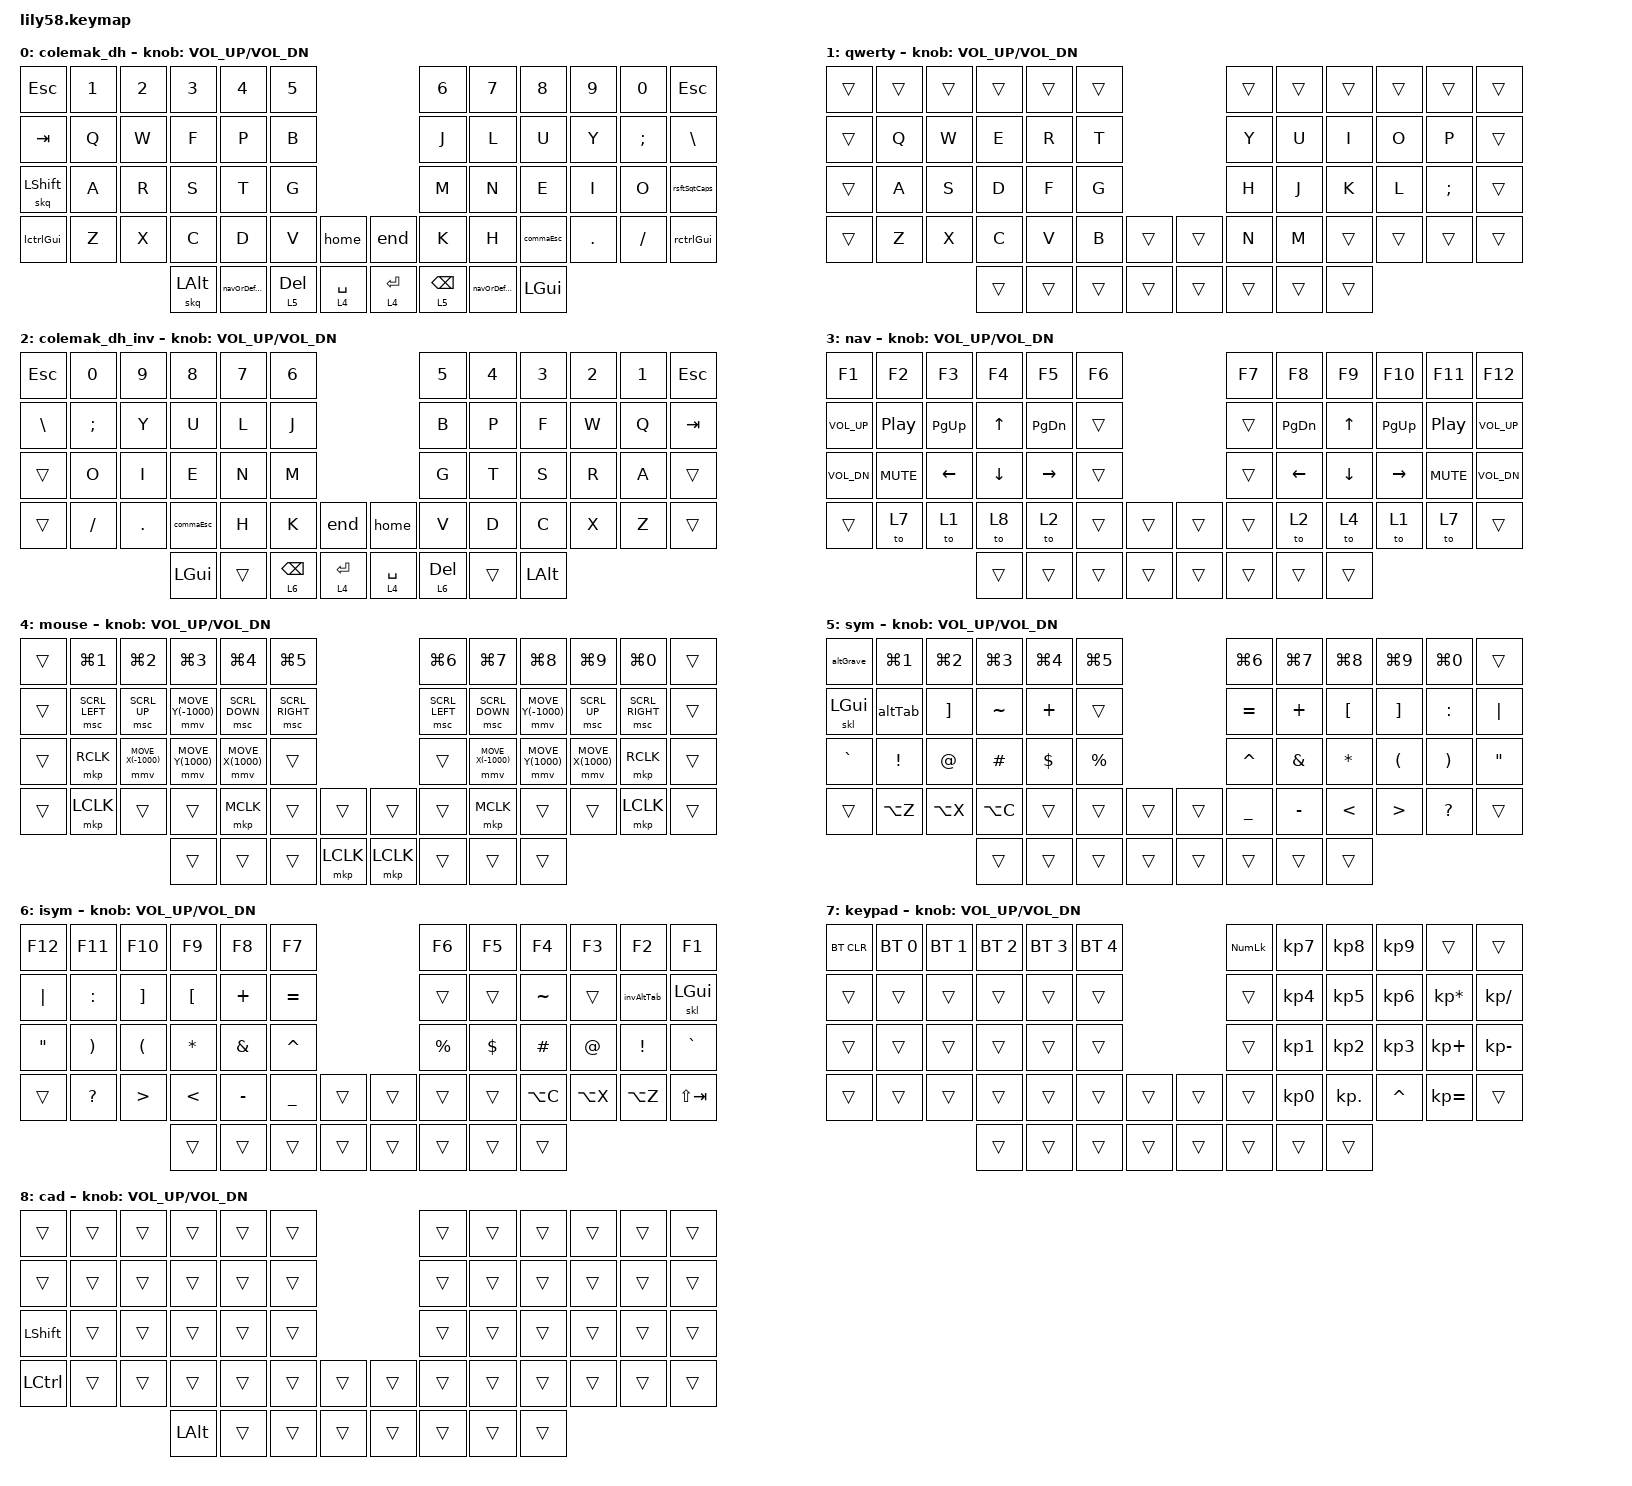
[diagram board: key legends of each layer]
/*
 * Copyright (c) 2020 The ZMK Contributors
 *
 * SPDX-License-Identifier: MIT
 */

#include <behaviors.dtsi>
#include <dt-bindings/zmk/bt.h>
#include <dt-bindings/zmk/keys.h>
#include <dt-bindings/zmk/pointing.h>

/ {
    combos { compatible = "zmk,combos"; };

    behaviors {
        kpKpBalanced: kpKpBalanced {
            compatible = "zmk,behavior-hold-tap";
            label = "KPKPBALANCED";
            bindings = <&kp>, <&kp>;

            #binding-cells = <2>;
            tapping-term-ms = <200>;
            flavor = "balanced";
        };

        skq: skq {
            compatible = "zmk,behavior-sticky-key";
            label = "SKQ";
            bindings = <&kp>;
            #binding-cells = <1>;
            release-after-ms = <500>;
            quick-release;
            ignore-modifiers;
        };

        lctrlGui: lctrlGui {
            compatible = "zmk,behavior-tap-dance";
            label = "LCTRLGUI";
            #binding-cells = <0>;
            bindings = <&skq LCTRL>, <&kp LGUI>;
        };

        rctrlGui: rctrlGui {
            compatible = "zmk,behavior-tap-dance";
            label = "RCTRLGUI";
            #binding-cells = <0>;
            bindings = <&skq RCTRL>, <&kp LGUI>;
        };

        commaEsc: commaEsc {
            compatible = "zmk,behavior-tap-dance";
            label = "COMMAESC";
            #binding-cells = <0>;
            bindings = <&kp COMMA>, <&kp ESCAPE>;
        };

        rsftSqtCaps: rsftSqtCaps {
            compatible = "zmk,behavior-mod-morph";
            label = "RSFTSQTCAPS";
            bindings = <&kpKpBalanced RSHIFT SQT>, <&kp CAPS>;

            #binding-cells = <0>;
            mods = <(MOD_LSFT)>;
        };

        home: home {
            compatible = "zmk,behavior-tap-dance";
            label = "HOME";
            #binding-cells = <0>;
            bindings = <&kp HOME>, <&kp LC(HOME)>;
        };

        end: end {
            compatible = "zmk,behavior-tap-dance";
            label = "END";
            #binding-cells = <0>;
            bindings = <&kp END>, <&kp LC(END)>;
        };

        moTo: moTo {
            compatible = "zmk,behavior-hold-tap";
            label = "MOTO";
            bindings = <&mo>, <&to>;

            #binding-cells = <2>;
            tapping-term-ms = <200>;
        };

        moKpReqIdle: moKpReqIdle {
            compatible = "zmk,behavior-hold-tap";
            label = "MOKPREQIDLE";
            bindings = <&mo>, <&kp>;

            #binding-cells = <2>;
            tapping-term-ms = <200>;
            quick-tap-ms = <200>;
            flavor = "hold-preferred";
            require-prior-idle-ms = <125>;
        };

        navOrDefLyr: navOrDefLyr {
            compatible = "zmk,behavior-mod-morph";
            label = "NAVORDEFLYR";
            bindings = <&moTo 3 0>, <&to 3>;

            #binding-cells = <0>;
            mods = <(MOD_LCTL|MOD_RCTL)>;
        };

        moKp: moKp {
            compatible = "zmk,behavior-hold-tap";
            label = "MOKP";
            bindings = <&mo>, <&kp>;

            #binding-cells = <2>;
            tapping-term-ms = <200>;
            quick-tap-ms = <200>;
            flavor = "hold-preferred";
        };

        // Swapper for smart alt+tab

        altTab: altTab {
            compatible = "zmk,behavior-smart-toggle";
            #binding-cells = <0>;
            bindings = <&kp LALT>, <&kp TAB>;

            ignored-key-positions = <36>;
        };

        // Swapper for smart alt+grave

        altGrave: altGrave {
            compatible = "zmk,behavior-smart-toggle";
            #binding-cells = <0>;
            bindings = <&kp LALT>, <&kp GRAVE>;

            ignored-key-positions = <15>;
        };

        invAltTab: invAltTab {
            compatible = "zmk,behavior-smart-toggle";
            #binding-cells = <0>;
            bindings = <&kp LALT>, <&kp TAB>;

            ignored-key-positions = <47>;
            label = "INVALTTAB";
        };

        invAltGrave: invAltGrave {
            compatible = "zmk,behavior-smart-toggle";
            #binding-cells = <0>;
            bindings = <&kp LALT>, <&kp GRAVE>;

            ignored-key-positions = <20>;
            label = "INVALTGRAVE";
        };

        skl: skl {
            compatible = "zmk,behavior-sticky-key";
            label = "SKL";
            bindings = <&kp>;
            #binding-cells = <1>;
            release-after-ms = <1000>;
            quick-release;
            ignore-modifiers;
            lazy;
        };
    };

    keymap {
        compatible = "zmk,keymap";

        default_lyr {
            // ------------------------------------------------------------------------------------------------------------
            // |  ESC  |  1  |  2  |  3   |  4   |  5   |                   |  6   |  7    |  8    |  9   |   0   |   `   |
            // |  TAB  |  Q  |  W  |  E   |  R   |  T   |                   |  Y   |  U    |  I    |  O   |   P   |   -   |
            // |  CTRL |  A  |  S  |  D   |  F   |  G   |                   |  H   |  J    |  K    |  L   |   ;   |   '   |
            // | SHIFT |  Z  |  X  |  C   |  V   |  B   |   "["  |  |  "]"  |  N   |  M    |  ,    |  .   |   /   | SHIFT |
            //                     | ALT  | GUI  | LOWER|  SPACE |  | ENTER | RAISE| BSPC  | GUI   |

            display-name = "colemak_dh";
            bindings = <
&kp ESCAPE   &kp N1  &kp N2  &kp N3     &kp N4        &kp N5                                                &kp N6             &kp N7        &kp N8     &kp N9   &kp N0         &kp ESCAPE
&kp TAB      &kp Q   &kp W   &kp F      &kp P         &kp B                                                 &kp J              &kp L         &kp U      &kp Y    &kp SEMICOLON  &kp BACKSLASH
&skq LSHIFT  &kp A   &kp R   &kp S      &kp T         &kp G                                                 &kp M              &kp N         &kp E      &kp I    &kp O          &rsftSqtCaps
&lctrlGui    &kp Z   &kp X   &kp C      &kp D         &kp V           &home          &end                   &kp K              &kp H         &commaEsc  &kp DOT  &kp FSLH       &rctrlGui
                             &skq LALT  &navOrDefLyr  &moKp 5 DELETE  &lt 4 SPACE    &moKpReqIdle 4 RETURN  &moKp 5 BACKSPACE  &navOrDefLyr  &kp LGUI
            >;

            sensor-bindings = <&inc_dec_kp C_VOL_UP C_VOL_DN>;
        };

        qwerty_lyr {
            display-name = "qwerty";
            bindings = <
&trans  &trans  &trans  &trans  &trans  &trans                    &trans  &trans  &trans  &trans  &trans    &trans
&trans  &kp Q   &kp W   &kp E   &kp R   &kp T                     &kp Y   &kp U   &kp I   &kp O   &kp P     &trans
&trans  &kp A   &kp S   &kp D   &kp F   &kp G                     &kp H   &kp J   &kp K   &kp L   &kp SEMI  &trans
&trans  &kp Z   &kp X   &kp C   &kp V   &kp B   &trans    &trans  &kp N   &kp M   &trans  &trans  &trans    &trans
                        &trans  &trans  &trans  &trans    &trans  &trans  &trans  &trans
            >;

            sensor-bindings = <&inc_dec_kp C_VOL_UP C_VOL_DN>;
        };

        inverted_lyr {
            display-name = "colemak_dh_inv";
            bindings = <
&kp ESC   &kp N0    &kp N9   &kp N8     &kp N7  &kp N6                                                          &kp N5              &kp N4  &kp N3    &kp N2  &kp N1  &kp ESC
&kp BSLH  &kp SEMI  &kp Y    &kp U      &kp L   &kp J                                                           &kp B               &kp P   &kp F     &kp W   &kp Q   &kp TAB
&trans    &kp O     &kp I    &kp E      &kp N   &kp M                                                           &kp G               &kp T   &kp S     &kp R   &kp A   &trans
&trans    &kp FSLH  &kp DOT  &commaEsc  &kp H   &kp K                     &end                     &home        &kp V               &kp D   &kp C     &kp X   &kp Z   &trans
                             &kp LGUI   &trans  &moKpReqIdle 6 BACKSPACE  &moKpReqIdle 4 RETURN    &lt 4 SPACE  &moKpReqIdle 6 DEL  &trans  &kp LALT
            >;

            sensor-bindings = <&inc_dec_kp C_VOL_UP C_VOL_DN>;
        };

        nav_lyr {
            display-name = "nav";
            bindings = <
&kp F1           &kp F2      &kp F3       &kp F4    &kp F5         &kp F6                    &kp F7  &kp F8         &kp F9    &kp F10    &kp F11     &kp F12
&kp C_VOLUME_UP  &kp C_PP    &kp PAGE_UP  &kp UP    &kp PAGE_DOWN  &trans                    &trans  &kp PAGE_DOWN  &kp UP    &kp PG_UP  &kp C_PP    &kp C_VOL_UP
&kp C_VOL_DN     &kp C_MUTE  &kp LEFT     &kp DOWN  &kp RIGHT      &trans                    &trans  &kp LEFT       &kp DOWN  &kp RIGHT  &kp C_MUTE  &kp C_VOL_DN
&trans           &to 7       &to 1        &to 8     &to 2          &trans  &trans    &trans  &trans  &to 2          &to 4     &to 1      &to 7       &trans
                                          &trans    &trans         &trans  &trans    &trans  &trans  &trans         &trans
            >;

            sensor-bindings = <&inc_dec_kp C_VOL_UP C_VOL_DN>;
        };

        mouse_lyr {
            display-name = "mouse";
            bindings = <
&trans  &kp LG(N1)      &kp LG(N2)          &kp LG(N3)          &kp LG(N4)         &kp LG(N5)                               &kp LG(N6)      &kp LG(N7)          &kp LG(N8)          &kp LG(N9)         &kp LG(N0)       &trans
&trans  &msc SCRL_LEFT  &msc SCRL_UP        &mmv MOVE_Y(-1000)  &msc SCRL_DOWN     &msc SCRL_RIGHT                          &msc SCRL_LEFT  &msc SCRL_DOWN      &mmv MOVE_Y(-1000)  &msc SCRL_UP       &msc SCRL_RIGHT  &trans
&trans  &mkp RCLK       &mmv MOVE_X(-1000)  &mmv MOVE_Y(1000)   &mmv MOVE_X(1000)  &trans                                   &trans          &mmv MOVE_X(-1000)  &mmv MOVE_Y(1000)   &mmv MOVE_X(1000)  &mkp RCLK        &trans
&trans  &mkp LCLK       &trans              &trans              &mkp MCLK          &trans           &trans       &trans     &trans          &mkp MCLK           &trans              &trans             &mkp LCLK        &trans
                                            &trans              &trans             &trans           &mkp LCLK    &mkp LCLK  &trans          &trans              &trans
            >;

            sensor-bindings = <&inc_dec_kp C_VOL_UP C_VOL_DN>;
        };

        sym_lyr {
            // ------------------------------------------------------------------------------------------------------------
            // | BTCLR | BT1 | BT2 |  BT3 |  BT4 |  BT5 |                   |      |       |       |      |       |       |
            // |  F1   |  F2 |  F3 |  F4  |  F5  |  F6  |                   |  F7  |  F8   |  F9   |  F10 |  F11  |  F12  |
            // |   `   |  !  |  @  |  #   |  $   |  %   |                   |  ^   |  &    |  *    |  (   |   )   |   ~   |
            // |       |     |     |      |      |      |        |  |       |      |  _    |  +    |  {   |   }   |  "|"  |
            //                     |      |      |      |        |  |       |      |       |       |

            display-name = "sym";
            bindings = <
&altGrave  &kp LG(N1)       &kp LG(N2)         &kp LG(N3)  &kp LG(N4)  &kp LG(N5)                     &kp LG(N6)      &kp LG(N7)     &kp LG(N8)        &kp LG(N9)            &kp LG(N0)             &trans
&skl LGUI  &altTab          &kp RIGHT_BRACKET  &kp TILDE   &kp PLUS    &trans                         &kp EQUAL       &kp PLUS       &kp LEFT_BRACKET  &kp RIGHT_BRACKET     &kp COLON              &kp PIPE
&kp GRAVE  &kp EXCLAMATION  &kp AT_SIGN        &kp HASH    &kp DOLLAR  &kp PERCENT                    &kp CARET       &kp AMPERSAND  &kp ASTERISK      &kp LEFT_PARENTHESIS  &kp RIGHT_PARENTHESIS  &kp DOUBLE_QUOTES
&trans     &kp LA(Z)        &kp LA(X)          &kp LA(C)   &trans      &trans       &trans    &trans  &kp UNDERSCORE  &kp MINUS      &kp LESS_THAN     &kp GREATER_THAN      &kp QUESTION           &trans
                                               &trans      &trans      &trans       &trans    &trans  &trans          &trans         &trans
            >;

            sensor-bindings = <&inc_dec_kp C_VOL_UP C_VOL_DN>;
        };

        isym_lyr {
            display-name = "isym";
            bindings = <
&kp F12            &kp F11                &kp F10               &kp F9         &kp F8         &kp F7                            &kp F6       &kp F5      &kp F4     &kp F3       &kp F2           &kp F1
&kp PIPE           &kp COLON              &kp RBKT              &kp LBKT       &kp PLUS       &kp EQUAL                         &trans       &trans      &kp TILDE  &trans       &invAltTab       &skl LGUI
&kp DOUBLE_QUOTES  &kp RIGHT_PARENTHESIS  &kp LEFT_PARENTHESIS  &kp ASTERISK   &kp AMPERSAND  &kp CARET                         &kp PERCENT  &kp DOLLAR  &kp POUND  &kp AT_SIGN  &kp EXCLAMATION  &kp GRAVE
&trans             &kp QUESTION           &kp GREATER_THAN      &kp LESS_THAN  &kp MINUS      &kp UNDERSCORE  &trans    &trans  &trans       &trans      &kp LA(C)  &kp LA(X)    &kp LA(Z)        &kp LS(TAB)
                                                                &trans         &trans         &trans          &trans    &trans  &trans       &trans      &trans
            >;

            sensor-bindings = <&inc_dec_kp C_VOL_UP C_VOL_DN>;
        };

        keypad_lyr {
            display-name = "keypad";
            bindings = <
&bt BT_CLR  &bt BT_SEL 0  &bt BT_SEL 1  &bt BT_SEL 2  &bt BT_SEL 3  &bt BT_SEL 4                    &kp KP_NUMLOCK  &kp KP_NUMBER_7  &kp KP_NUMBER_8  &kp KP_NUMBER_9  &trans           &trans
&trans      &trans        &trans        &trans        &trans        &trans                          &trans          &kp KP_NUMBER_4  &kp KP_NUMBER_5  &kp KP_NUMBER_6  &kp KP_MULTIPLY  &kp KP_DIVIDE
&trans      &trans        &trans        &trans        &trans        &trans                          &trans          &kp KP_NUMBER_1  &kp KP_NUMBER_2  &kp KP_NUMBER_3  &kp KP_PLUS      &kp KP_MINUS
&trans      &trans        &trans        &trans        &trans        &trans        &trans    &trans  &trans          &kp KP_NUMBER_0  &kp KP_DOT       &kp CARET        &kp KP_EQUAL     &trans
                                        &trans        &trans        &trans        &trans    &trans  &trans          &trans           &trans
            >;

            sensor-bindings = <&inc_dec_kp C_VOL_UP C_VOL_DN>;
        };

        cad_lyr {
            display-name = "cad";
            bindings = <
&trans          &trans  &trans  &trans        &trans  &trans                    &trans  &trans  &trans  &trans  &trans  &trans
&trans          &trans  &trans  &trans        &trans  &trans                    &trans  &trans  &trans  &trans  &trans  &trans
&kp LEFT_SHIFT  &trans  &trans  &trans        &trans  &trans                    &trans  &trans  &trans  &trans  &trans  &trans
&kp LCTRL       &trans  &trans  &trans        &trans  &trans  &trans    &trans  &trans  &trans  &trans  &trans  &trans  &trans
                                &kp LEFT_ALT  &trans  &trans  &trans    &trans  &trans  &trans  &trans
            >;

            sensor-bindings = <&inc_dec_kp C_VOL_UP C_VOL_DN>;
        };

        extra_1 { status = "reserved"; };
    };
};
